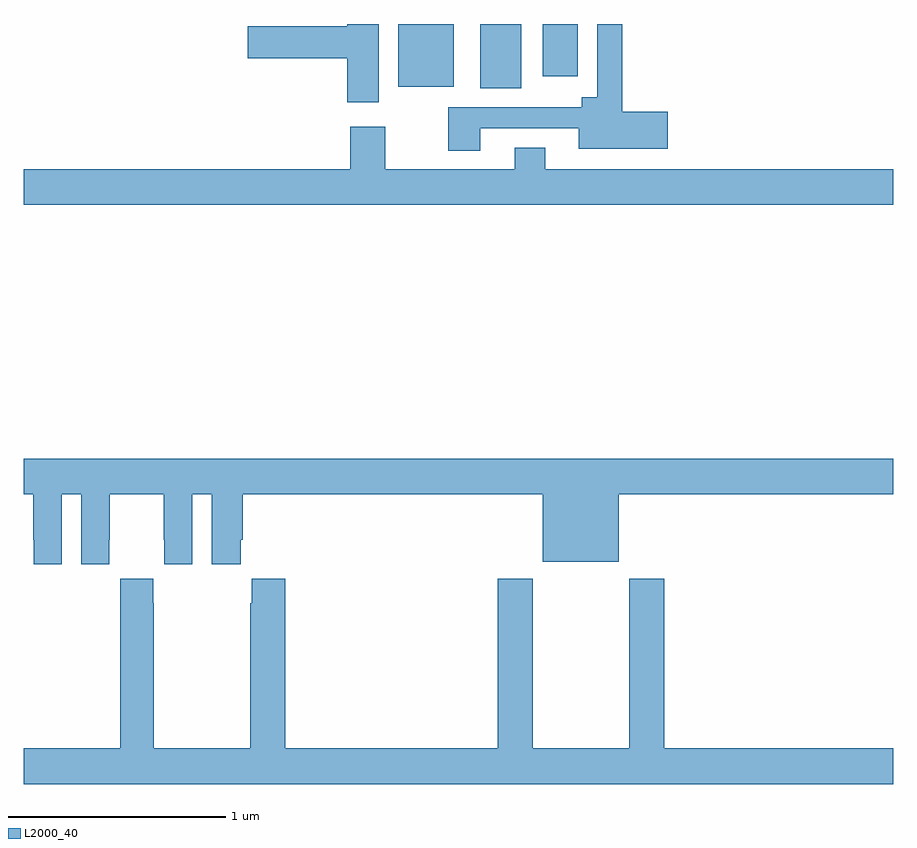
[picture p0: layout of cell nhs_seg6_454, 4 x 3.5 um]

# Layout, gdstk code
import gdstk
lib = gdstk.Library(unit=1e-6, precision=1e-09)
def R(c, l, rs):  # rectangles x0, y0, x1, y1
    for r in rs: c.add(gdstk.rectangle(r[:2], r[2:], *l))
def P(c, l, *ps):  # polygons
    for p in ps: c.add(gdstk.Polygon(p, *l))
L2000_40 = (2000, 40)

nhs_seg6_454 = lib.new_cell('nhs_seg6_454')
R(nhs_seg6_454, L2000_40, [(139.1,949.205,139.288,949.5), (138.722,949.211,138.979,949.5), (139.388,949.26,139.549,949.5)])
P(nhs_seg6_454, L2000_40, [(139.099,949.02),(139.553,949.02),(139.553,948.926),(139.963,948.926),(139.963,949.097),(139.754,949.097),(139.754,949.5),(139.638,949.5),(139.638,949.162),(139.568,949.162),(139.568,949.116),(138.952,949.116),(138.952,948.918),(139.099,948.918)],
  [(138.634,949.5),(138.488,949.5),(138.488,949.49),(138.03,949.49),(138.03,949.343),(138.488,949.343),(138.488,949.14),(138.634,949.14)],
  [(141,948.832),(139.399,948.832),(139.399,948.931),(139.259,948.931),(139.259,948.832),(138.663,948.832),(138.663,949.027),(138.503,949.027),(138.503,948.832),(137,948.832),(137,948.668),(141,948.668)],
  [(137,947.336),(137.045,947.336),(137.045,947.128),(137.046,947.128),(137.046,947.016),(137.176,947.016),(137.176,947.336),(137.264,947.336),(137.264,947.016),(137.394,947.016),(137.394,947.128),(137.395,947.128),(137.395,947.336),(137.645,947.336),(137.645,947.128),(137.646,947.128),(137.646,947.016),(137.776,947.016),(137.776,947.336),(137.864,947.336),(137.864,947.016),(137.998,947.016),(137.998,947.128),(138.008,947.128),(138.008,947.336),(139.388,947.336),(139.388,947.027),(139.738,947.027),(139.738,947.336),(141,947.336),(141,947.5),(137,947.5)],
  [(141,946.168),(139.946,946.168),(139.946,946.948),(139.786,946.948),(139.786,946.168),(139.341,946.168),(139.341,946.948),(139.181,946.948),(139.181,946.168),(138.203,946.168),(138.203,946.948),(138.049,946.948),(138.049,946.835),(138.043,946.835),(138.043,946.168),(137.598,946.168),(137.598,946.835),(137.595,946.835),(137.595,946.948),(137.445,946.948),(137.445,946.835),(137.443,946.835),(137.443,946.168),(137,946.168),(137,946.004),(141,946.004)])

lib.write_gds('nhs_seg6_454.gds')
